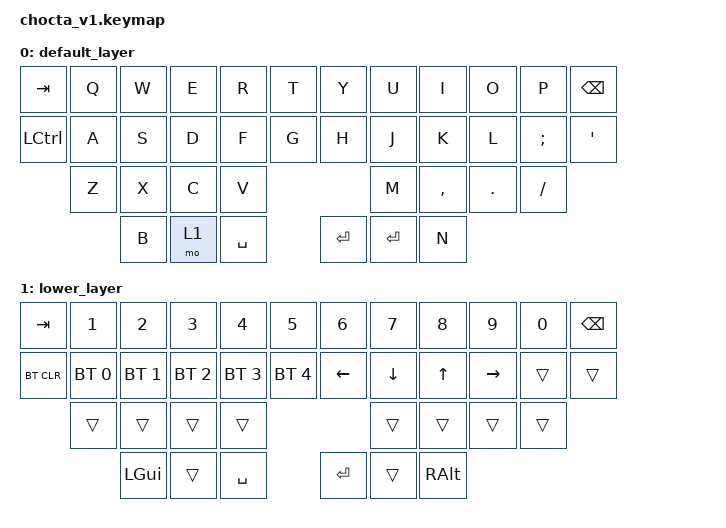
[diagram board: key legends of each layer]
/*
 * Copyright (c) 2020 The ZMK Contributors
 *
 * SPDX-License-Identifier: MIT
 */

#include <behaviors.dtsi>
#include <dt-bindings/zmk/keys.h>
#include <dt-bindings/zmk/bt.h>

/ {
        keymap {
                compatible = "zmk,keymap";

                default_layer {
// -----------------------------------------------------------------------------------------
// |  TAB |  Q  |  W  |  E  |  R  |  T  |   |  Y  |  U   |  I  |  O  |  P  | BKSP |
// | CTRL |  A  |  S  |  D  |  F  |  G  |   |  H  |  J   |  K  |  L  |  ;  |  '   |
// |      |  Z  |  X  |  C  |  V  |     |   |     |  M   |  ,  |  .  |  /  |      |
//                    |  B  | LWR | SPC |   | ENT | ENT  |  N  |
                        bindings = <
   &kp TAB   &kp Q &kp W &kp E &kp R &kp T   &kp Y   &kp U   &kp I     &kp O   &kp P    &kp BSPC
   &kp LCTRL &kp A &kp S &kp D &kp F &kp G   &kp H   &kp J   &kp K     &kp L   &kp SEMI &kp SQT
             &kp Z &kp X &kp C &kp V                 &kp M   &kp COMMA &kp DOT &kp FSLH
                   &kp B &mo 1 &kp SPACE     &kp RET &kp RET &kp N
                        >;
                };
                lower_layer {
// -----------------------------------------------------------------------------------------
// |  TAB |  1  |  2  |  3  |  4  |  5  |   |  6  |  7  |  8  |  9  |  0  | BKSP |
// | BTCLR| BT1 | BT2 | BT3 | BT4 | BT5 |   | LFT | DWN |  UP | RGT |     |      |
// |      |     |     |     |     |     |   |     |     |     |     |     |      |
//                    | GUI |     | SPC |   | ENT |     | ALT |
                        bindings = <
   &kp TAB    &kp N1       &kp N2       &kp N3       &kp N4       &kp N5         &kp N6   &kp N7   &kp N8 &kp N9    &kp N0 &kp BSPC
   &bt BT_CLR &bt BT_SEL 0 &bt BT_SEL 1 &bt BT_SEL 2 &bt BT_SEL 3 &bt BT_SEL 4   &kp LEFT &kp DOWN &kp UP &kp RIGHT &trans &trans
              &trans       &trans       &trans       &trans                               &trans   &trans &trans    &trans
                                    &kp LGUI     &trans       &kp SPACE      &kp RET  &trans   &kp RALT
                        >;
                };
        };
};
